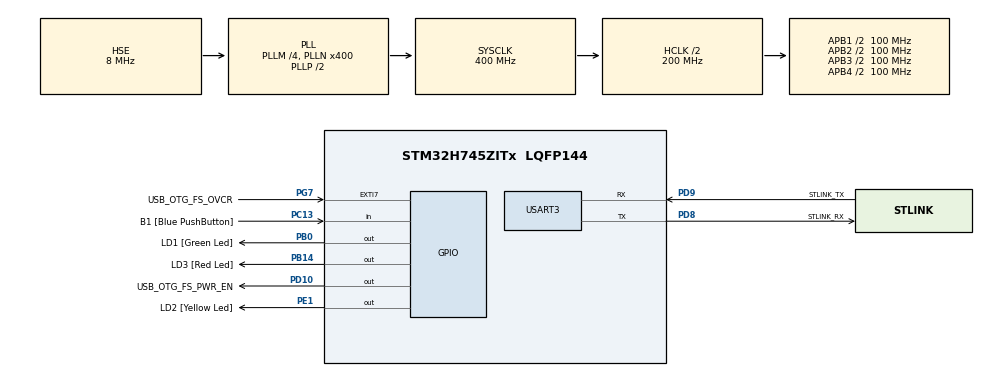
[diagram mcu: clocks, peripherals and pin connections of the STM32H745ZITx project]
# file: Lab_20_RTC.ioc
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CortexM4.IPs=FATFS_M4\:I,FREERTOS_M4\:I,IWDG2\:I,RCC,WWDG2\:I,DMA,BDMA,MDMA,NVIC2\:I,USART3,ETH,DEBUG,PDM2PCM_M4\:I,PWR,RESMGR_UTILITY,SYS_M4\:I,USB_DEVICE_M4\:I,USB_HOST_M4\:I,CORTEX_M4\:I,GPIO,OPENAMP_M4\:I,VREFBUF
CortexM7.IPs=FATFS_M7\:I,FREERTOS_M7\:I,IWDG1\:I,RCC\:I,WWDG1\:I,DMA\:I,BDMA\:I,MDMA\:I,NVIC1\:I,SYS\:I,USART3\:I,USB_OTG_FS\:I,ETH\:I,CORTEX_M7\:I,DEBUG\:I,PDM2PCM_M7\:I,PWR\:I,RESMGR_UTILITY\:I,USB_DEVICE_M7\:I,USB_HOST_M7\:I,GPIO\:I,OPENAMP_M7\:I,VREFBUF\:I,RTC\:I
CortexM7.Pins=PB0,PB14,PE1
Mcu.Family=STM32H7
Mcu.Name=STM32H745ZITx
Mcu.Package=LQFP144
NVIC1.PriorityGroup=NVIC_PRIORITYGROUP_4
NVIC1.RTC_Alarm_IRQn=true\:0\:0\:false\:false\:true\:true\:true\:true
NVIC2.PriorityGroup=NVIC_PRIORITYGROUP_4
PA1.PinAttribute=CortexM7
PA1.Signal=ETH_REF_CLK
PA11.PinAttribute=CortexM7
PA11.Signal=USB_OTG_FS_DM
PA12.PinAttribute=CortexM7
PA12.Signal=USB_OTG_FS_DP
PA2.PinAttribute=CortexM7
PA2.Signal=ETH_MDIO
PA7.PinAttribute=CortexM7
PA7.Signal=ETH_CRS_DV
PA8.PinAttribute=CortexM7
PA8.Signal=USB_OTG_FS_SOF
PA9.PinAttribute=CortexM7
PA9.Signal=USB_OTG_FS_VBUS
PB0.GPIO_Label=LD1 [Green Led]
PB0.PinAttribute=CortexM7
PB0.Signal=GPIO_Output
PB13.PinAttribute=CortexM7
PB13.Signal=ETH_TXD1
PB14.GPIO_Label=LD3 [Red Led]
PB14.PinAttribute=CortexM7
PB14.Signal=GPIO_Output
PC1.PinAttribute=CortexM7
PC1.Signal=ETH_MDC
PC13.GPIO_Label=B1 [Blue PushButton]
PC13.PinAttribute=Free
PC13.Signal=GPIO_Input
PC14-OSC32_IN\ (OSC32_IN).PinAttribute=CortexM7
PC14-OSC32_IN\ (OSC32_IN).Signal=RCC_OSC32_IN
PC15-OSC32_OUT\ (OSC32_OUT).PinAttribute=CortexM7
PC15-OSC32_OUT\ (OSC32_OUT).Signal=RCC_OSC32_OUT
PC4.PinAttribute=CortexM7
PC4.Signal=ETH_RXD0
PC5.PinAttribute=CortexM7
PC5.Signal=ETH_RXD1
PD10.GPIO_Label=USB_OTG_FS_PWR_EN
PD10.PinAttribute=Free
PD10.Signal=GPIO_Output
PD8.GPIO_Label=STLINK_RX
PD8.Mode=Asynchronous
PD8.PinAttribute=CortexM7
PD8.Signal=USART3_TX
PD9.GPIO_Label=STLINK_TX
PD9.Mode=Asynchronous
PD9.PinAttribute=CortexM7
PD9.Signal=USART3_RX
PE1.GPIO_Label=LD2 [Yellow Led]
PE1.PinAttribute=CortexM7
PE1.Signal=GPIO_Output
PG11.PinAttribute=CortexM7
PG11.Signal=ETH_TX_EN
PG13.PinAttribute=CortexM7
PG13.Signal=ETH_TXD0
PG7.GPIO_Label=USB_OTG_FS_OVCR
PG7.PinAttribute=Free
PG7.Signal=GPXTI7
PH0-OSC_IN\ (PH0).Mode=HSE-External-Clock-Source
PH0-OSC_IN\ (PH0).PinAttribute=CortexM7
PH0-OSC_IN\ (PH0).Signal=RCC_OSC_IN
PH1-OSC_OUT\ (PH1).PinAttribute=CortexM7
PH1-OSC_OUT\ (PH1).Signal=RCC_OSC_OUT
ProjectManager.HeapSize=M4-0x200,M7-0x200
ProjectManager.StackSize=M4-0x400,M7-0x400
ProjectManager.TargetToolchain=STM32CubeIDE
RCC.ADCFreq_Value=16125000
RCC.APB1Freq_Value=100000000
RCC.APB2Freq_Value=100000000
RCC.APB3Freq_Value=100000000
RCC.APB4Freq_Value=100000000
RCC.CortexFreq_Value=400000000
RCC.D1PPRE=RCC_APB3_DIV2
RCC.D2PPRE1=RCC_APB1_DIV2
RCC.D2PPRE2=RCC_APB2_DIV2
RCC.D3PPRE=RCC_APB4_DIV2
RCC.DIVM1=4
RCC.DIVM3=22
RCC.DIVN1=400
RCC.DIVN3=169
RCC.DIVQ3=4
RCC.HCLKFreq_Value=200000000
RCC.HPRE=RCC_HCLK_DIV2
RCC.HSE_VALUE=8000000
RCC.PLL2FRACN=0
RCC.PLL3FRACN=0
RCC.PLLFRACN=0
RCC.PLLSourceVirtual=RCC_PLLSOURCE_HSE
RCC.SYSCLKFreq_VALUE=400000000
RCC.SYSCLKSource=RCC_SYSCLKSOURCE_PLLCLK
RCC.SupplySource=PWR_DIRECT_SMPS_SUPPLY
RCC.USBCLockSelection=RCC_USBCLKSOURCE_PLL3
RCC.USBFreq_Value=15363636.363636363
RTC.Alarm-Alarm\ A=RTC_ALARM_A
RTC.Date=14
RTC.Hours=22
RTC.Minutes=50
RTC.Month=RTC_MONTH_FEBRUARY
RTC.SynchPrediv=249
RTC.WeekDay=RTC_WEEKDAY_TUESDAY
RTC.Year=23
USART3.VirtualMode-Asynchronous=VM_ASYNC
VP_RTC_VS_RTC_Activate.Mode=RTC_Enabled
VP_RTC_VS_RTC_Alarm_A_Intern.Mode=Alarm A
VP_RTC_VS_RTC_Calendar.Mode=RTC_Calendar
VP_SYS_M4_VS_Systick.Mode=SysTick
board=NUCLEO-H745ZI-Q

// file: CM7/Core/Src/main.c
/* USER CODE BEGIN Header */
/**
  ******************************************************************************
  * @file           : main.c
  * @brief          : Main program body
  ******************************************************************************
  * @attention
  *
  * Copyright (c) 2023 STMicroelectronics.
  * All rights reserved.
  *
  * This software is licensed under terms that can be found in the LICENSE file
  * in the root directory of this software component.
  * If no LICENSE file comes with this software, it is provided AS-IS.
  *
  ******************************************************************************
  */
/* USER CODE END Header */
#include "main.h"

/* USER CODE BEGIN Includes */
#include <stdio.h>
/* USER CODE END Includes */

/* USER CODE BEGIN PD */

#ifndef HSEM_ID_0
#define HSEM_ID_0 (0U) /* HW semaphore 0*/
#endif
/* USER CODE END PD */

RTC_HandleTypeDef hrtc;

UART_HandleTypeDef huart3;

/* USER CODE BEGIN PV */

RTC_TimeTypeDef Time = {0};
RTC_DateTypeDef Date = {0};

/* USER CODE END PV */

void SystemClock_Config(void);
static void MX_GPIO_Init(void);
static void MX_RTC_Init(void);
static void MX_USART3_UART_Init(void);
/* USER CODE BEGIN PFP */

#ifdef __GNUC__
/* With GCC/RAISONANCE, small printf (option LD Linker->Libraries->Small printf
   set to 'Yes') calls __io_putchar() */
#define PUTCHAR_PROTOTYPE int __io_putchar(int ch)
#else
#define PUTCHAR_PROTOTYPE int fputc(int ch, FILE *f)
#endif /* __GNUC__ */

/* USER CODE END PFP */

int main(void)
{
/* USER CODE BEGIN Boot_Mode_Sequence_0 */
  int32_t timeout;
/* USER CODE END Boot_Mode_Sequence_0 */

/* USER CODE BEGIN Boot_Mode_Sequence_1 */
  /* Wait until CPU2 boots and enters in stop mode or timeout*/
  timeout = 0xFFFF;
  while((__HAL_RCC_GET_FLAG(RCC_FLAG_D2CKRDY) != RESET) && (timeout-- > 0));
  if ( timeout < 0 )
  {
  Error_Handler();
  }
/* USER CODE END Boot_Mode_Sequence_1 */
  /* MCU Configuration--------------------------------------------------------*/

  /* Reset of all peripherals, Initializes the Flash interface and the Systick. */
  HAL_Init();

  /* Configure the system clock */
  SystemClock_Config();
/* USER CODE BEGIN Boot_Mode_Sequence_2 */
/* When system initialization is finished, Cortex-M7 will release Cortex-M4 by means of
HSEM notification */
/*HW semaphore Clock enable*/
__HAL_RCC_HSEM_CLK_ENABLE();
/*Take HSEM */
HAL_HSEM_FastTake(HSEM_ID_0);
/*Release HSEM in order to notify the CPU2(CM4)*/
HAL_HSEM_Release(HSEM_ID_0,0);
/* wait until CPU2 wakes up from stop mode */
timeout = 0xFFFF;
while((__HAL_RCC_GET_FLAG(RCC_FLAG_D2CKRDY) == RESET) && (timeout-- > 0));
if ( timeout < 0 )
{
Error_Handler();
}
/* USER CODE END Boot_Mode_Sequence_2 */

  /* Initialize all configured peripherals */
  MX_GPIO_Init();
  MX_RTC_Init();
  MX_USART3_UART_Init();
  /* USER CODE BEGIN 2 */

  HAL_RTC_GetTime(&hrtc, &Time, RTC_FORMAT_BIN);
  uint8_t end_minutes = Time.Minutes;
  uint8_t end_seconds = Time.Seconds + 5;

  if (end_seconds >= 60) {
      end_seconds -= 60;
      end_minutes++;
      if (end_minutes >= 60) {
          end_minutes = 0;
      }
  }

  HAL_RTC_GetDate(&hrtc, &Date, RTC_FORMAT_BIN);

  RTC_AlarmTypeDef sAlarm = {0};
  sAlarm.AlarmTime.Hours = Time.Hours;
  sAlarm.AlarmTime.Minutes = end_minutes;
  sAlarm.AlarmTime.Seconds = end_seconds;
  sAlarm.AlarmTime.SubSeconds = 0x0;
  sAlarm.AlarmTime.DayLightSaving = RTC_DAYLIGHTSAVING_NONE;
  sAlarm.AlarmTime.StoreOperation = RTC_STOREOPERATION_RESET;
  sAlarm.AlarmMask = RTC_ALARMMASK_NONE;
  sAlarm.AlarmSubSecondMask = RTC_ALARMSUBSECONDMASK_ALL;
  sAlarm.AlarmDateWeekDaySel = RTC_ALARMDATEWEEKDAYSEL_DATE;
  sAlarm.AlarmDateWeekDay = Date.Date;
  sAlarm.Alarm = RTC_ALARM_A;

  if (HAL_RTC_SetAlarm_IT(&hrtc, &sAlarm, RTC_FORMAT_BIN) != HAL_OK)
  {
      Error_Handler();
  }

  /* USER CODE END 2 */

  /* Infinite loop */
  while (1)
  {

    /* USER CODE BEGIN 3 */

    HAL_RTC_GetTime(&hrtc, &Time, RTC_FORMAT_BIN); // RTC_FORMAT_BIN , RTC_FORMAT_BCD
    printf("Time %02d:%02d:%02d   %d %d\r\n", Time.Hours, Time.Minutes, Time.Seconds, end_minutes, end_seconds);

    HAL_RTC_GetDate(&hrtc, &Date, RTC_FORMAT_BIN);
    printf("Date %d-%d-20%d\r\n", Date.Date, Date.Month, Date.Year);

    printf("\r\n");

    HAL_Delay(1000);
  }
  /* USER CODE END 3 */
}

void SystemClock_Config(void)
{
  RCC_OscInitTypeDef RCC_OscInitStruct = {0};
  RCC_ClkInitTypeDef RCC_ClkInitStruct = {0};

  /** Supply configuration update enable
  */
  HAL_PWREx_ConfigSupply(PWR_DIRECT_SMPS_SUPPLY);

  /** Configure the main internal regulator output voltage
  */
  __HAL_PWR_VOLTAGESCALING_CONFIG(PWR_REGULATOR_VOLTAGE_SCALE1);

  while(!__HAL_PWR_GET_FLAG(PWR_FLAG_VOSRDY)) {}

  /** Initializes the RCC Oscillators according to the specified parameters
  * in the RCC_OscInitTypeDef structure.
  */
  RCC_OscInitStruct.OscillatorType = RCC_OSCILLATORTYPE_LSI|RCC_OSCILLATORTYPE_HSE;
  RCC_OscInitStruct.HSEState = RCC_HSE_BYPASS;
  RCC_OscInitStruct.LSIState = RCC_LSI_ON;
  RCC_OscInitStruct.PLL.PLLState = RCC_PLL_ON;
  RCC_OscInitStruct.PLL.PLLSource = RCC_PLLSOURCE_HSE;
  RCC_OscInitStruct.PLL.PLLM = 4;
  RCC_OscInitStruct.PLL.PLLN = 400;
  RCC_OscInitStruct.PLL.PLLP = 2;
  RCC_OscInitStruct.PLL.PLLQ = 2;
  RCC_OscInitStruct.PLL.PLLR = 2;
  RCC_OscInitStruct.PLL.PLLRGE = RCC_PLL1VCIRANGE_1;
  RCC_OscInitStruct.PLL.PLLVCOSEL = RCC_PLL1VCOWIDE;
  RCC_OscInitStruct.PLL.PLLFRACN = 0;
  if (HAL_RCC_OscConfig(&RCC_OscInitStruct) != HAL_OK)
  {
    Error_Handler();
  }

  /** Initializes the CPU, AHB and APB buses clocks
  */
  RCC_ClkInitStruct.ClockType = RCC_CLOCKTYPE_HCLK|RCC_CLOCKTYPE_SYSCLK
                              |RCC_CLOCKTYPE_PCLK1|RCC_CLOCKTYPE_PCLK2
                              |RCC_CLOCKTYPE_D3PCLK1|RCC_CLOCKTYPE_D1PCLK1;
  RCC_ClkInitStruct.SYSCLKSource = RCC_SYSCLKSOURCE_PLLCLK;
  RCC_ClkInitStruct.SYSCLKDivider = RCC_SYSCLK_DIV1;
  RCC_ClkInitStruct.AHBCLKDivider = RCC_HCLK_DIV2;
  RCC_ClkInitStruct.APB3CLKDivider = RCC_APB3_DIV2;
  RCC_ClkInitStruct.APB1CLKDivider = RCC_APB1_DIV2;
  RCC_ClkInitStruct.APB2CLKDivider = RCC_APB2_DIV2;
  RCC_ClkInitStruct.APB4CLKDivider = RCC_APB4_DIV2;

  if (HAL_RCC_ClockConfig(&RCC_ClkInitStruct, FLASH_LATENCY_2) != HAL_OK)
  {
    Error_Handler();
  }
}

void HAL_RTC_AlarmAEventCallback(RTC_HandleTypeDef *hrtc) {
	printf("callback1");
	HAL_GPIO_WritePin(LD1_GPIO_Port, LD1_Pin, GPIO_PIN_SET);
	printf("callback2");
}

static void MX_RTC_Init(void)
{

  RTC_TimeTypeDef sTime = {0};
  RTC_DateTypeDef sDate = {0};
  RTC_AlarmTypeDef sAlarm = {0};

  /** Initialize RTC Only
  */
  hrtc.Instance = RTC;
  hrtc.Init.HourFormat = RTC_HOURFORMAT_24;
  hrtc.Init.AsynchPrediv = 127;
  hrtc.Init.SynchPrediv = 249;
  hrtc.Init.OutPut = RTC_OUTPUT_DISABLE;
  hrtc.Init.OutPutPolarity = RTC_OUTPUT_POLARITY_HIGH;
  hrtc.Init.OutPutType = RTC_OUTPUT_TYPE_OPENDRAIN;
  hrtc.Init.OutPutRemap = RTC_OUTPUT_REMAP_NONE;
  if (HAL_RTC_Init(&hrtc) != HAL_OK)
  {
    Error_Handler();
  }

  /* USER CODE BEGIN Check_RTC_BKUP */

  /* Check if Data stored in BackUp register1: No Need to reconfigure RTC */
  /* Read the Back Up Register 0 Data */
  if (HAL_RTCEx_BKUPRead(&hrtc, RTC_BKP_DR0) != 0x0001)
  {
    // Clear Backup register : recover to current RTC information

    // Set to Time/Date from current Time/Date

    // Write a data in ad RTC Backup data register
    HAL_RTCEx_BKUPWrite(&hrtc, RTC_BKP_DR0, 0x0001);
  }
  else
  {
    /* No Need to reconfigure RTC */
    return;
  }

  /* USER CODE END Check_RTC_BKUP */

  /** Initialize RTC and set the Time and Date
  */
  sTime.Hours = 0x22;
  sTime.Minutes = 0x50;
  sTime.Seconds = 0x0;
  sTime.DayLightSaving = RTC_DAYLIGHTSAVING_NONE;
  sTime.StoreOperation = RTC_STOREOPERATION_RESET;
  if (HAL_RTC_SetTime(&hrtc, &sTime, RTC_FORMAT_BCD) != HAL_OK)
  {
    Error_Handler();
  }
  sDate.WeekDay = RTC_WEEKDAY_TUESDAY;
  sDate.Month = RTC_MONTH_FEBRUARY;
  sDate.Date = 0x14;
  sDate.Year = 0x23;
  if (HAL_RTC_SetDate(&hrtc, &sDate, RTC_FORMAT_BCD) != HAL_OK)
  {
    Error_Handler();
  }

  /** Enable the Alarm A
  */
  sAlarm.AlarmTime.Hours = 0x0;
  sAlarm.AlarmTime.Minutes = 0x0;
  sAlarm.AlarmTime.Seconds = 0x0;
  sAlarm.AlarmTime.SubSeconds = 0x0;
  sAlarm.AlarmTime.DayLightSaving = RTC_DAYLIGHTSAVING_NONE;
  sAlarm.AlarmTime.StoreOperation = RTC_STOREOPERATION_RESET;
  sAlarm.AlarmMask = RTC_ALARMMASK_NONE;
  sAlarm.AlarmSubSecondMask = RTC_ALARMSUBSECONDMASK_ALL;
  sAlarm.AlarmDateWeekDaySel = RTC_ALARMDATEWEEKDAYSEL_DATE;
  sAlarm.AlarmDateWeekDay = 0x1;
  sAlarm.Alarm = RTC_ALARM_A;
  if (HAL_RTC_SetAlarm_IT(&hrtc, &sAlarm, RTC_FORMAT_BCD) != HAL_OK)
  {
    Error_Handler();
  }
  /* USER CODE BEGIN RTC_Init 2 */
  HAL_NVIC_EnableIRQ(RTC_Alarm_IRQn);

  /* USER CODE END RTC_Init 2 */

}

static void MX_USART3_UART_Init(void)
{

  huart3.Instance = USART3;
  huart3.Init.BaudRate = 115200;
  huart3.Init.WordLength = UART_WORDLENGTH_8B;
  huart3.Init.StopBits = UART_STOPBITS_1;
  huart3.Init.Parity = UART_PARITY_NONE;
  huart3.Init.Mode = UART_MODE_TX_RX;
  huart3.Init.HwFlowCtl = UART_HWCONTROL_NONE;
  huart3.Init.OverSampling = UART_OVERSAMPLING_16;
  huart3.Init.OneBitSampling = UART_ONE_BIT_SAMPLE_DISABLE;
  huart3.Init.ClockPrescaler = UART_PRESCALER_DIV1;
  huart3.AdvancedInit.AdvFeatureInit = UART_ADVFEATURE_NO_INIT;
  if (HAL_UART_Init(&huart3) != HAL_OK)
  {
    Error_Handler();
  }
  if (HAL_UARTEx_SetTxFifoThreshold(&huart3, UART_TXFIFO_THRESHOLD_1_8) != HAL_OK)
  {
    Error_Handler();
  }
  if (HAL_UARTEx_SetRxFifoThreshold(&huart3, UART_RXFIFO_THRESHOLD_1_8) != HAL_OK)
  {
    Error_Handler();
  }
  if (HAL_UARTEx_DisableFifoMode(&huart3) != HAL_OK)
  {
    Error_Handler();
  }

}

static void MX_GPIO_Init(void)
{
  GPIO_InitTypeDef GPIO_InitStruct = {0};

  /* GPIO Ports Clock Enable */
  __HAL_RCC_GPIOC_CLK_ENABLE();
  __HAL_RCC_GPIOH_CLK_ENABLE();
  __HAL_RCC_GPIOA_CLK_ENABLE();
  __HAL_RCC_GPIOB_CLK_ENABLE();
  __HAL_RCC_GPIOD_CLK_ENABLE();
  __HAL_RCC_GPIOG_CLK_ENABLE();
  __HAL_RCC_GPIOE_CLK_ENABLE();

  /*Configure GPIO pin Output Level */
  HAL_GPIO_WritePin(GPIOB, LD1_Pin|LD3_Pin, GPIO_PIN_RESET);

  /*Configure GPIO pin Output Level */
  HAL_GPIO_WritePin(LD2_GPIO_Port, LD2_Pin, GPIO_PIN_RESET);

  /*Configure GPIO pins : PC1 PC4 PC5 */
  GPIO_InitStruct.Pin = GPIO_PIN_1|GPIO_PIN_4|GPIO_PIN_5;
  GPIO_InitStruct.Mode = GPIO_MODE_AF_PP;
  GPIO_InitStruct.Pull = GPIO_NOPULL;
  GPIO_InitStruct.Speed = GPIO_SPEED_FREQ_LOW;
  GPIO_InitStruct.Alternate = GPIO_AF11_ETH;
  HAL_GPIO_Init(GPIOC, &GPIO_InitStruct);

  /*Configure GPIO pins : PA1 PA2 PA7 */
  GPIO_InitStruct.Pin = GPIO_PIN_1|GPIO_PIN_2|GPIO_PIN_7;
  GPIO_InitStruct.Mode = GPIO_MODE_AF_PP;
  GPIO_InitStruct.Pull = GPIO_NOPULL;
  GPIO_InitStruct.Speed = GPIO_SPEED_FREQ_LOW;
  GPIO_InitStruct.Alternate = GPIO_AF11_ETH;
  HAL_GPIO_Init(GPIOA, &GPIO_InitStruct);

  /*Configure GPIO pins : LD1_Pin LD3_Pin */
  GPIO_InitStruct.Pin = LD1_Pin|LD3_Pin;
  GPIO_InitStruct.Mode = GPIO_MODE_OUTPUT_PP;
  GPIO_InitStruct.Pull = GPIO_NOPULL;
  GPIO_InitStruct.Speed = GPIO_SPEED_FREQ_LOW;
  HAL_GPIO_Init(GPIOB, &GPIO_InitStruct);

  /*Configure GPIO pin : PB13 */
  GPIO_InitStruct.Pin = GPIO_PIN_13;
  GPIO_InitStruct.Mode = GPIO_MODE_AF_PP;
  GPIO_InitStruct.Pull = GPIO_NOPULL;
  GPIO_InitStruct.Speed = GPIO_SPEED_FREQ_LOW;
  GPIO_InitStruct.Alternate = GPIO_AF11_ETH;
  HAL_GPIO_Init(GPIOB, &GPIO_InitStruct);

  /*Configure GPIO pins : PA8 PA11 PA12 */
  GPIO_InitStruct.Pin = GPIO_PIN_8|GPIO_PIN_11|GPIO_PIN_12;
  GPIO_InitStruct.Mode = GPIO_MODE_AF_PP;
  GPIO_InitStruct.Pull = GPIO_NOPULL;
  GPIO_InitStruct.Speed = GPIO_SPEED_FREQ_LOW;
  GPIO_InitStruct.Alternate = GPIO_AF10_OTG1_FS;
  HAL_GPIO_Init(GPIOA, &GPIO_InitStruct);

  /*Configure GPIO pins : PG11 PG13 */
  GPIO_InitStruct.Pin = GPIO_PIN_11|GPIO_PIN_13;
  GPIO_InitStruct.Mode = GPIO_MODE_AF_PP;
  GPIO_InitStruct.Pull = GPIO_NOPULL;
  GPIO_InitStruct.Speed = GPIO_SPEED_FREQ_LOW;
  GPIO_InitStruct.Alternate = GPIO_AF11_ETH;
  HAL_GPIO_Init(GPIOG, &GPIO_InitStruct);

  /*Configure GPIO pin : LD2_Pin */
  GPIO_InitStruct.Pin = LD2_Pin;
  GPIO_InitStruct.Mode = GPIO_MODE_OUTPUT_PP;
  GPIO_InitStruct.Pull = GPIO_NOPULL;
  GPIO_InitStruct.Speed = GPIO_SPEED_FREQ_LOW;
  HAL_GPIO_Init(LD2_GPIO_Port, &GPIO_InitStruct);

}

/* USER CODE BEGIN 4 */

/**
  * @brief  Retargets the C library printf function to the USART.
  * @param  None
  * @retval None
  */
PUTCHAR_PROTOTYPE
{
  /* Place your implementation of fputc here */
  /* e.g. write a character to the USARTx and Loop until the end of transmission */
  HAL_UART_Transmit(&huart3, (uint8_t *)&ch, 1, HAL_MAX_DELAY);

  return ch;
}

/* USER CODE END 4 */

void Error_Handler(void)
{
  __disable_irq();
  while (1)
  {
  }
}
